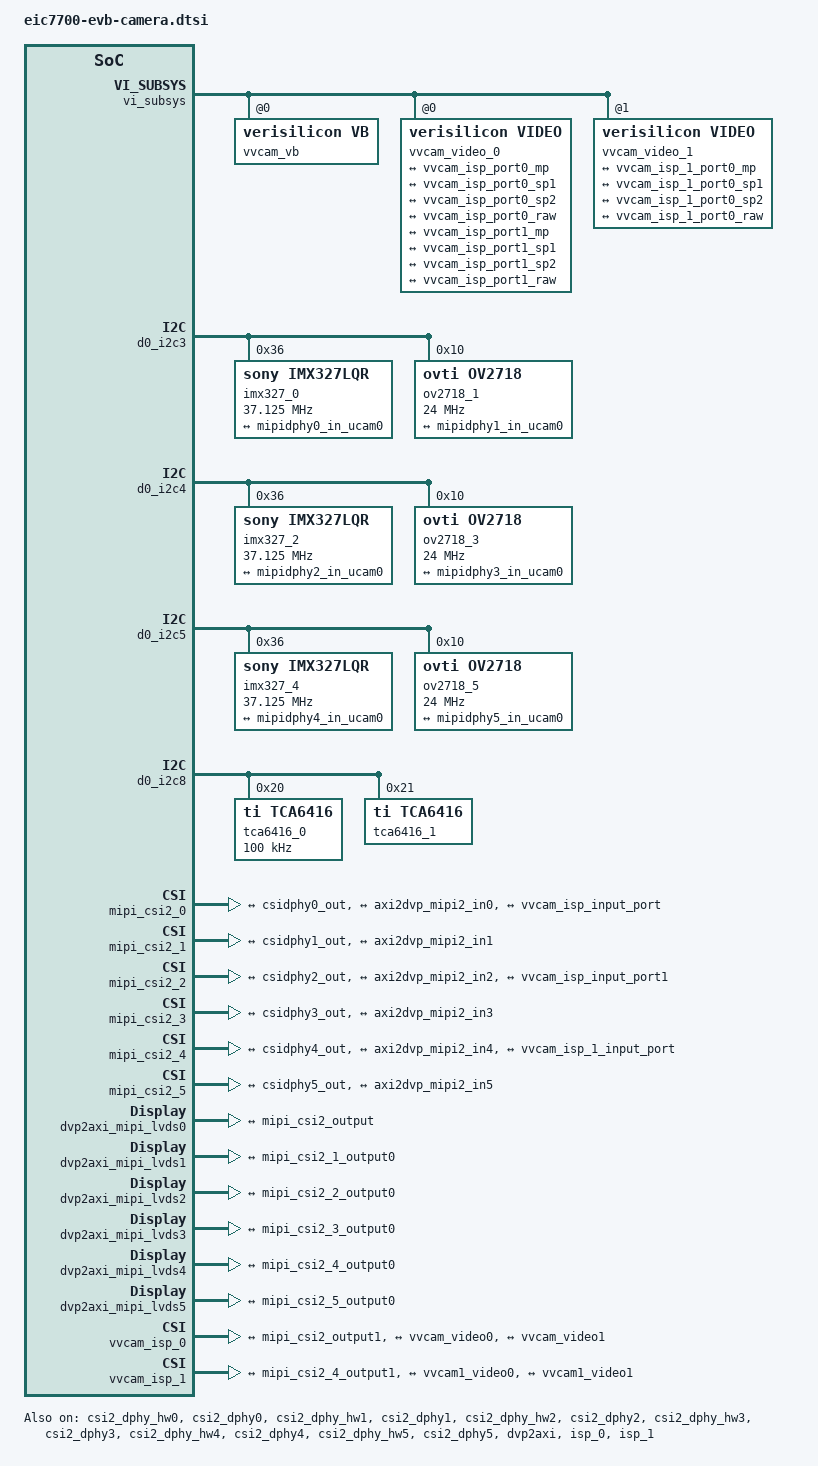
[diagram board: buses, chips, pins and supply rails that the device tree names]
/* SPDX-License-Identifier: GPL-2.0 */
/*
 * Copyright 2026, Beijing ESWIN Computing Technology Co., Ltd.. All rights reserved.
 *
 */

// #include "eswin-win2030-die0-soc.dtsi"
#include <dt-bindings/gpio/gpio.h>
#include <dt-bindings/input/input.h>
&vi_subsys {
	eswin,isp_dvp0_hor = <1920>;
	eswin,isp_dvp0_ver = <1080>;
	/* imx327 4lane HDR mode */
	phy_mode = <5>; //5: 6x2lanes, 2: 3x4lanes
	isp_connect_mode = <0>;
	// imx327,wdr-en-2;

	vvcam_vb: vvcam_vb@0 {
		compatible = "verisilicon,vb";
		status = "okay";
		#size-cells = <2>;
		dma-noncoherent;
		dma-ranges = <0x0 0x20000000 0x0 0x80000000 0x0 0x40000000>;
		iommus = <&smmu0 WIN2030_SID_ISP0>;
	};

	vvcam_video_0: vvcam_video@0 {
		compatible = "verisilicon,video";
		id = <0>;
		status = "okay";
		#size-cells = <2>;
		dma-noncoherent;
		dma-ranges = <0x0 0x20000000 0x0 0x80000000 0x0 0x40000000>;
		iommus = <&smmu0 WIN2030_SID_ISP0>;
		ports {
			#address-cells = <1>;
			#size-cells = <0>;

			port@0 {
				#address-cells = <1>;
				#size-cells = <0>;
				reg = <0>;
				vvcam_video0: endpoint@0 {
					reg = <0>;
					remote-endpoint = <&vvcam_isp_port0_mp>;
				};
			};

			port@1 {
				#address-cells = <1>;
				#size-cells = <0>;
				reg = <1>;
				vvcam_video1: endpoint@0 {
					reg = <0>;
					remote-endpoint = <&vvcam_isp_port0_sp1>;
				};
			};

			port@2 {
				#address-cells = <1>;
				#size-cells = <0>;
				reg = <2>;
				vvcam_video2: endpoint@0 {
					reg = <0>;
					remote-endpoint = <&vvcam_isp_port0_sp2>;
				};
			};

			port@3 {
				#address-cells = <1>;
				#size-cells = <0>;
				reg = <3>;
				vvcam_video3: endpoint@0 {
					reg = <0>;
					remote-endpoint = <&vvcam_isp_port0_raw>;
				};
			};

			port@4 {
				#address-cells = <1>;
				#size-cells = <0>;
				reg = <4>;
				vvcam_video4: endpoint@0 {
					reg = <0>;
					remote-endpoint = <&vvcam_isp_port1_mp>;
				};
			};

			port@5 {
				#address-cells = <1>;
				#size-cells = <0>;
				reg = <5>;
				vvcam_video5: endpoint@0 {
					reg = <0>;
					remote-endpoint = <&vvcam_isp_port1_sp1>;
				};
			};

			port@6 {
				#address-cells = <1>;
				#size-cells = <0>;
				reg = <6>;
				vvcam_video6: endpoint@0 {
					reg = <0>;
					remote-endpoint = <&vvcam_isp_port1_sp2>;
				};
			};

			port@7 {
				#address-cells = <1>;
				#size-cells = <0>;
				reg = <7>;
				vvcam_video7: endpoint@0 {
					reg = <0>;
					remote-endpoint = <&vvcam_isp_port1_raw>;
				};
			};
		};
	};

	vvcam_video_1: vvcam_video@1 {
		compatible = "verisilicon,video";
		id = <1>;
		status = "okay";
		#size-cells = <2>;
		dma-noncoherent;
		dma-ranges = <0x0 0x20000000 0x0 0x80000000 0x0 0x40000000>;
		iommus = <&smmu0 WIN2030_SID_ISP1>;
		ports {
			#address-cells = <1>;
			#size-cells = <0>;

			port@0 {
				#address-cells = <1>;
				#size-cells = <0>;
				reg = <0>;
				vvcam1_video0: endpoint@0 {
					reg = <0>;
					remote-endpoint = <&vvcam_isp_1_port0_mp>;
				};
			};

			port@1 {
				#address-cells = <1>;
				#size-cells = <0>;
				reg = <1>;
				vvcam1_video1: endpoint@0 {
					reg = <0>;
					remote-endpoint = <&vvcam_isp_1_port0_sp1>;
				};
			};

			port@2 {
				#address-cells = <1>;
				#size-cells = <0>;
				reg = <2>;
				vvcam1_video2: endpoint@0 {
					reg = <0>;
					remote-endpoint = <&vvcam_isp_1_port0_sp2>;
				};
			};

			port@3 {
				#address-cells = <1>;
				#size-cells = <0>;
				reg = <3>;
				vvcam1_video3: endpoint@0 {
					reg = <0>;
					remote-endpoint = <&vvcam_isp_1_port0_raw>;
				};
			};
		};
	};
};

&d0_i2c3 {
	/* mipi csi0/csi1 */
	status = "okay";
	imx327_0: imx327@36 {
		compatible = "sony,imx327lqr";
		status = "okay";
		address-cells = <1>;
		size-cells = <0>;
		reg = <0x36>;
		clocks = <&d0_clock EIC7700_CLK_VI_SHUTTER_0>;
		assigned-clocks = <&d0_clock EIC7700_CLK_VI_SHUTTER_0>;
		assigned-clock-rates = <37125000>;
		clock-frequency = <37125000>;
		clock-names = "xclk";
		power-domains = <&d0_pmu EIC770X_PD_VI>;

		port {
			imx327_out0: endpoint {
				remote-endpoint = <&mipidphy0_in_ucam0>;
				data-lanes = <1 2>;
				link-frequencies = /bits/ 64 <445500000 297000000>;
			};
		};
	};

	ov2718_1: ov2718@10 {
		compatible = "ovti,ov2718";
		status = "okay";
		address-cells = <1>;
		size-cells = <0>;
		reg = <0x10>;
		clocks = <&d0_clock EIC7700_CLK_VI_SHUTTER_1>;
		assigned-clocks = <&d0_clock EIC7700_CLK_VI_SHUTTER_1>;
		assigned-clock-rates = <24000000>;
		clock-frequency = <24000000>;
		clock-names = "xvclk";
		power-domains = <&d0_pmu EIC770X_PD_VI>;

		port {
			ov2718_out1: endpoint {
				remote-endpoint = <&mipidphy1_in_ucam0>;
				data-lanes = <1 2>;
				link-frequencies = /bits/ 64 <480000000>;
			};
		};
	};
};

&d0_i2c4 {
	/* mipi csi2/csi3 */
	status = "okay";
	imx327_2: imx327@36 {
		compatible = "sony,imx327lqr";
		status = "okay";
		address-cells = <1>;
		size-cells = <0>;
		reg = <0x36>;
		clocks = <&d0_clock EIC7700_CLK_VI_SHUTTER_2>;
		assigned-clocks = <&d0_clock EIC7700_CLK_VI_SHUTTER_2>;
		assigned-clock-rates = <37125000>;
		clock-frequency = <37125000>;
		clock-names = "xclk";
		power-domains = <&d0_pmu EIC770X_PD_VI>;

		port {
			imx327_out2: endpoint {
				remote-endpoint = <&mipidphy2_in_ucam0>;
				data-lanes = <1 2>;
				link-frequencies = /bits/ 64 <445500000 297000000>;
			};
		};
	};

	ov2718_3: ov2718@10 {
		compatible = "ovti,ov2718";
		status = "okay";
		address-cells = <1>;
		size-cells = <0>;
		reg = <0x10>;
		clocks = <&d0_clock EIC7700_CLK_VI_SHUTTER_3>;
		assigned-clocks = <&d0_clock EIC7700_CLK_VI_SHUTTER_3>;
		assigned-clock-rates = <24000000>;
		clock-frequency = <24000000>;
		clock-names = "xvclk";
		power-domains = <&d0_pmu EIC770X_PD_VI>;

		port {
			ov2718_out3: endpoint {
				remote-endpoint = <&mipidphy3_in_ucam0>;
				data-lanes = <1 2>;
				link-frequencies = /bits/ 64 <480000000>;
			};
		};
	};
};

&d0_i2c5 {
	/* mipi csi4/csi5 */
	status = "okay";
	imx327_4: imx327@36 {
		compatible = "sony,imx327lqr";
		status = "okay";
		address-cells = <1>;
		size-cells = <0>;
		reg = <0x36>;
		clocks = <&d0_clock EIC7700_CLK_VI_SHUTTER_4>;
		assigned-clocks = <&d0_clock EIC7700_CLK_VI_SHUTTER_4>;
		assigned-clock-rates = <37125000>;
		clock-frequency = <37125000>;
		clock-names = "xclk";
		power-domains = <&d0_pmu EIC770X_PD_VI>;

		port {
			imx327_out4: endpoint {
				remote-endpoint = <&mipidphy4_in_ucam0>;
				data-lanes = <1 2>;
				link-frequencies = /bits/ 64 <445500000 297000000>;
			};
		};
	};

	ov2718_5: ov2718@10 {
		compatible = "ovti,ov2718";
		status = "okay";
		address-cells = <1>;
		size-cells = <0>;
		reg = <0x10>;
		clocks = <&d0_clock EIC7700_CLK_VI_SHUTTER_5>;
		assigned-clocks = <&d0_clock EIC7700_CLK_VI_SHUTTER_5>;
		assigned-clock-rates = <24000000>;
		clock-frequency = <24000000>;
		clock-names = "xvclk";
		power-domains = <&d0_pmu EIC770X_PD_VI>;

		port {
			ov2718_out5: endpoint {
				remote-endpoint = <&mipidphy5_in_ucam0>;
				data-lanes = <1 2>;
				link-frequencies = /bits/ 64 <480000000>;
			};
		};
	};
};

&d0_i2c8 {
	/* io extended for mipi csi */
	status = "okay";
	tca6416_0: gpio@20 {
		compatible = "ti,tca6416";
		clock-frequency = <100000>;
		reg = <0x20>;
		gpio-controller; /* IRQ not connected */
		#gpio-cells = <2>;
		gpio-line-names = "MIPI_CSI0_PWDN", "MIPI_CSI0_RESET", "MIPI_CSI1_FBC", "MIPI_CSI1_ENB",
				"MIPI_CSI1_RESET", "MIPI_CSI1_PWDN", "FREX_GP0", "",
				"MIPI_CSI0_ENB", "MIPI_CSI0_FBC", "FREX_GP2", "MIPI_CSI2_FBC",
				"MIPI_CSI2_ENB", "FREX_GP1", "MIPI_CSI2_RESET", "MIPI_CSI2_PWDN";
		//vcc = <&gpio_vcc0>;
		status = "okay";
	};
	tca6416_1: gpio@21 {
		compatible = "ti,tca6416";
		reg = <0x21>;
		gpio-controller;
		#gpio-cells = <2>;
		/* IRQ not connected */
		gpio-line-names = "MIPI_CSI3_PWDN", "MIPI_CSI3_RESET", "MIPI_CSI3_ENB", "MIPI_CSI3_FBC",
				"MIPI_CSI4_PWDN", "MIPI_CSI4_RESET", "MIPI_CSI4_ENB", "MIPI_CSI4_FBC",
				"MIPI_CSI5_FBC", "MIPI_CSI5_ENB", "MIPI_CSI5_RESET", "MIPI_CSI5_PWDN",
				"", "", "", "";
		//vcc = <&gpio_vcc1>;
		status = "okay";
	};
};

&csi2_dphy_hw0 {
	lanes = <1 2>;
	lanes-dp-dn = <3 3>;	// 4lanes: positive on dn/ negative on dp to hs and lp mode
	status = "okay";
};

&csi2_dphy0 {
	status = "okay";
	ports {
		#address-cells = <1>;
		#size-cells = <0>;

		port@0 {
			reg = <0>;
			#address-cells = <1>;
			#size-cells = <0>;

			mipidphy0_in_ucam0: endpoint {
				remote-endpoint = <&imx327_out0>;
			};
		};
		port@1 {
			reg = <1>;
			#address-cells = <1>;
			#size-cells = <0>;

			csidphy0_out: endpoint {
				remote-endpoint = <&mipi_csi2_input>;
			};
		};
	};
};

&csi2_dphy_hw1 {
	lanes = <1 2>;
	lanes-dp-dn = <3 3>;	// 4lanes: positive on dn/ negative on dp to hs and lp mode
	status = "okay";
};
&csi2_dphy1 {
	status = "okay";
	ports {
		#address-cells = <1>;
		#size-cells = <0>;

		port@0 {
			reg = <0>;
			#address-cells = <1>;
			#size-cells = <0>;

			mipidphy1_in_ucam0: endpoint@0 {
				reg = <0>;
				remote-endpoint = <&ov2718_out1>;
			};
		};

		port@1 {
			reg = <1>;
			#address-cells = <1>;
			#size-cells = <0>;

			csidphy1_out: endpoint@1 {
				reg = <1>;
				remote-endpoint = <&mipi_csi2_1_input>;
			};
		};
	};
};

&csi2_dphy_hw2 {
	lanes = <1 2>;
	lanes-dp-dn = <3 3>;	// 4lanes: positive on dn/ negative on dp to hs and lp mode
	status = "okay";
};
&csi2_dphy2 {
	status = "okay";
	ports {
		#address-cells = <1>;
		#size-cells = <0>;

		port@0 {
			reg = <0>;
			#address-cells = <1>;
			#size-cells = <0>;

			mipidphy2_in_ucam0: endpoint@0 {
				reg = <0>;
				remote-endpoint = <&imx327_out2>;
			};
		};

		port@1 {
			reg = <1>;
			#address-cells = <1>;
			#size-cells = <0>;

			csidphy2_out: endpoint@1 {
				reg = <1>;
				remote-endpoint = <&mipi_csi2_2_input>;
			};
		};
	};
};

&csi2_dphy_hw3 {
	lanes = <1 2>;
	lanes-dp-dn = <3 3>;	// 4lanes: positive on dn/ negative on dp to hs and lp mode
	status = "okay";
};

&csi2_dphy3{
	status = "okay";
	ports {
		#address-cells = <1>;
		#size-cells = <0>;

		port@0 {
			reg = <0>;
			#address-cells = <1>;
			#size-cells = <0>;

			mipidphy3_in_ucam0: endpoint@0 {
				reg = <0>;
				remote-endpoint = <&ov2718_out3>;
			};
		};

		port@1 {
			reg = <1>;
			#address-cells = <1>;
			#size-cells = <0>;

			csidphy3_out: endpoint@1 {
				reg = <1>;
				remote-endpoint = <&mipi_csi2_3_input>;
			};
		};
	};
};

&csi2_dphy_hw4 {
	lanes = <1 2>;
	lanes-dp-dn = <3 3>;	// 4lanes: positive on dn/ negative on dp to hs and lp mode
	status = "okay";
};
&csi2_dphy4 {
	status = "okay";
	ports {
		#address-cells = <1>;
		#size-cells = <0>;

		port@0 {
			reg = <0>;
			#address-cells = <1>;
			#size-cells = <0>;

			mipidphy4_in_ucam0: endpoint@0 {
				reg = <0>;
				remote-endpoint = <&imx327_out4>;
			};
		};

		port@1 {
			reg = <1>;
			#address-cells = <1>;
			#size-cells = <0>;

			csidphy4_out: endpoint@1 {
				reg = <1>;
				remote-endpoint = <&mipi_csi2_4_input>;
			};
		};
	};
};

&csi2_dphy_hw5 {
	lanes = <1 2>;
	lanes-dp-dn = <3 3>;	// 4lanes: positive on dn/ negative on dp to hs and lp mode
	status = "okay";
};
&csi2_dphy5{
	status = "okay";
	ports {
		#address-cells = <1>;
		#size-cells = <0>;

		port@0 {
			reg = <0>;
			#address-cells = <1>;
			#size-cells = <0>;

			mipidphy5_in_ucam0: endpoint@0 {
				reg = <0>;
				remote-endpoint = <&ov2718_out5>;
			};
		};

		port@1 {
			reg = <1>;
			#address-cells = <1>;
			#size-cells = <0>;

			csidphy5_out: endpoint@1 {
				reg = <1>;
				remote-endpoint = <&mipi_csi2_5_input>;
			};
		};
	};
};

&mipi_csi2_0 {
	status = "okay";
	num_lanes = <2>;
	snps,en-ppi-width = <1>; // 1: 16-bit, 0: 8-bit
	/* enable HDR X2 */
	ipi2_en            = <1>;
    ipi2_vcid          = <1>;      /* data mapped to VC1 */
    ipi3_en            = <0>;
    ipi3_vcid          = <2>;      /* data mapped to VC2 */
	ports {
		#address-cells = <1>;
		#size-cells = <0>;

		port@0 {
			#address-cells = <1>;
			#size-cells = <0>;
			reg = <0>;
			mipi_csi2_input: endpoint {
				remote-endpoint = <&csidphy0_out>;
			};
		};

		port@1 {
			#address-cells = <1>;
			#size-cells = <0>;
			reg = <1>;
			mipi_csi2_output: endpoint {
				remote-endpoint = <&axi2dvp_mipi2_in0>;
			};
		};

		port@2 {
			#address-cells = <1>;
			#size-cells = <0>;
			reg = <2>;
			mipi_csi2_output1: endpoint {
				remote-endpoint = <&vvcam_isp_input_port>;
			};
		};
	};
};

&mipi_csi2_1{
	num_lanes = <2>;
	snps,en-ppi-width = <1>;
	status = "okay";
	ipi2_en = <1>;
	ipi2_vcid = <1>;
	ipi3_en = <0>;
	ipi3_vcid = <2>;
	ports {
		#address-cells = <1>;
		#size-cells = <0>;

		port@0 {
			reg = <0>;
			#address-cells = <1>;
			#size-cells = <0>;

			mipi_csi2_1_input: endpoint@0 {
				remote-endpoint = <&csidphy1_out>;
			};
		};

		port@1 {
			reg = <1>;
			#address-cells = <1>;
			#size-cells = <0>;

			mipi_csi2_1_output0: endpoint@1 {
				remote-endpoint = <&axi2dvp_mipi2_in1>;
			};
		};
	};
};

&mipi_csi2_2 {
	num_lanes = <2>;
	snps,en-ppi-width = <1>; // 1: 16-bit, 0: 8-bit
	status = "okay";
	/* enable HDR X2 */
	ipi2_en            = <1>;
    ipi2_vcid          = <1>;      /* data mapped to VC1 */
    ipi3_en            = <0>;
    ipi3_vcid          = <2>;      /* data mapped to VC2 */
	ports {
		#address-cells = <1>;
		#size-cells = <0>;

		port@0 {
			reg = <0>;
			#address-cells = <1>;
			#size-cells = <0>;

			mipi_csi2_2_input: endpoint@0 {
				remote-endpoint = <&csidphy2_out>;
			};
		};

		port@1 {
			reg = <1>;
			#address-cells = <1>;
			#size-cells = <0>;

			mipi_csi2_2_output0: endpoint@1 {
				remote-endpoint = <&axi2dvp_mipi2_in2>;
			};
		};

		port@2 {
			#address-cells = <1>;
			#size-cells = <0>;
			reg = <2>;
			mipi_csi2_2_output1: endpoint {
				remote-endpoint = <&vvcam_isp_input_port1>;
			};
		};
	};
};

&mipi_csi2_3 {
	num_lanes = <2>;
	snps,en-ppi-width = <1>;
	status = "okay";
	ipi2_en = <1>;
	ipi2_vcid = <1>;
	ipi3_en = <0>;
	ipi3_vcid = <2>;
	ports {
		#address-cells = <1>;
		#size-cells = <0>;

		port@0 {
			reg = <0>;
			#address-cells = <1>;
			#size-cells = <0>;

			mipi_csi2_3_input: endpoint@0 {
				remote-endpoint = <&csidphy3_out>;
			};
		};

		port@1 {
			reg = <1>;
			#address-cells = <1>;
			#size-cells = <0>;

			mipi_csi2_3_output0: endpoint@1 {
				remote-endpoint = <&axi2dvp_mipi2_in3>;
			};
		};
	};
};

&mipi_csi2_4 {
	num_lanes = <2>;
	snps,en-ppi-width = <1>; // 1: 16-bit, 0: 8-bit
	status = "okay";
	/* enable HDR X2 */
	ipi2_en            = <1>;
	ipi2_vcid          = <1>;      /* data mapped to VC1 */
	ipi3_en            = <0>;
	ipi3_vcid          = <2>;      /* data mapped to VC2 */
	ports {
		#address-cells = <1>;
		#size-cells = <0>;

		port@0 {
			reg = <0>;
			#address-cells = <1>;
			#size-cells = <0>;

			mipi_csi2_4_input: endpoint@0 {
				remote-endpoint = <&csidphy4_out>;
			};
		};

		port@1 {
			reg = <1>;
			#address-cells = <1>;
			#size-cells = <0>;

			mipi_csi2_4_output0: endpoint@1 {
				remote-endpoint = <&axi2dvp_mipi2_in4>;
			};
		};

		port@2 {
			#address-cells = <1>;
			#size-cells = <0>;
			reg = <2>;
			mipi_csi2_4_output1: endpoint {
				remote-endpoint = <&vvcam_isp_1_input_port>;
			};
		};
	};
};


&mipi_csi2_5 {
	num_lanes = <2>;
	snps,en-ppi-width = <1>; // 1: 16-bit, 0: 8-bit
	status = "okay";
	/* enable HDR X2 */
	ipi2_en            = <1>;
	ipi2_vcid          = <1>;      /* data mapped to VC1 */
	ipi3_en            = <0>;
	ipi3_vcid          = <2>;      /* data mapped to VC2 */
	ports {
		#address-cells = <1>;
		#size-cells = <0>;

		port@0 {
			reg = <0>;
			#address-cells = <1>;
			#size-cells = <0>;

			mipi_csi2_5_input: endpoint@0 {
				remote-endpoint = <&csidphy5_out>;
			};
		};

		port@1 {
			reg = <1>;
			#address-cells = <1>;
			#size-cells = <0>;

			mipi_csi2_5_output0: endpoint@1 {
				remote-endpoint = <&axi2dvp_mipi2_in5>;
			};
		};
	};
};

&dvp2axi {
	status = "okay";
};

&dvp2axi_mipi_lvds0 {
	status = "okay";
	dvp2axi_id = <0>;
	ports{
		port@0 {
			axi2dvp_mipi2_in0: endpoint {
				remote-endpoint = <&mipi_csi2_output>;
			};
		};
	};
};

&dvp2axi_mipi_lvds1 {
	dvp2axi_id = <1>;
	status = "okay";
	port@0 {
		axi2dvp_mipi2_in1: endpoint {
			remote-endpoint = <&mipi_csi2_1_output0>;
		};
	};

};

&dvp2axi_mipi_lvds2 {
	status = "okay";
	dvp2axi_id = <2>;
	port@0 {
		axi2dvp_mipi2_in2: endpoint@0 {
			remote-endpoint = <&mipi_csi2_2_output0>;
		};
	};
};

&dvp2axi_mipi_lvds3 {
	dvp2axi_id = <3>;
	status = "okay";
	port@0 {
		axi2dvp_mipi2_in3: endpoint@0 {
			remote-endpoint = <&mipi_csi2_3_output0>;
		};
	};
};

&dvp2axi_mipi_lvds4 {
	dvp2axi_id = <4>;
	status = "okay";
	port@0 {
		axi2dvp_mipi2_in4: endpoint@0 {
			remote-endpoint = <&mipi_csi2_4_output0>;
		};
	};
};

&dvp2axi_mipi_lvds5 {
	dvp2axi_id = <5>;
	status = "okay";
	port@0 {
		axi2dvp_mipi2_in5: endpoint@0 {
			remote-endpoint = <&mipi_csi2_5_output0>;
		};
	};
};

&vvcam_isp_0 {
	ports {
		#address-cells = <1>;
		#size-cells = <0>;

		port@0 {
			#address-cells = <1>;
			#size-cells = <0>;
			reg = <0>;
			vvcam_isp_input_port: endpoint@0 {
				reg = <0>;
				remote-endpoint = <&mipi_csi2_output1>;
			};
		};

		port@1 {
			#address-cells = <1>;
			#size-cells = <0>;
			reg = <1>;
			vvcam_isp_port0_mp: endpoint {
				remote-endpoint = <&vvcam_video0>;
			};
		};

		port@2 {
			#address-cells = <1>;
			#size-cells = <0>;
			reg = <2>;
			vvcam_isp_port0_sp1: endpoint {
				remote-endpoint = <&vvcam_video1>;
			};
		};

		port@3 {
			#address-cells = <1>;
			#size-cells = <0>;
			reg = <3>;
			vvcam_isp_port0_sp2: endpoint {
				remote-endpoint = <&vvcam_video2>;
			};
		};

		port@4 {
			#address-cells = <1>;
			#size-cells = <0>;
			reg = <4>;
			vvcam_isp_port0_raw: endpoint {
				remote-endpoint = <&vvcam_video3>;
			};
		};

		port@5 {
			#address-cells = <1>;
			#size-cells = <0>;
			reg = <5>;
			vvcam_isp_input_port1: endpoint@0 {
				reg = <0>;
				remote-endpoint = <&mipi_csi2_2_output1>;
			};
		};

		port@6 {
			#address-cells = <1>;
			#size-cells = <0>;
			reg = <6>;
			vvcam_isp_port1_mp: endpoint {
				remote-endpoint = <&vvcam_video4>;
			};
		};

		port@7 {
			#address-cells = <1>;
			#size-cells = <0>;
			reg = <7>;
			vvcam_isp_port1_sp1: endpoint {
				remote-endpoint = <&vvcam_video5>;
			};
		};

		port@8 {
			#address-cells = <1>;
			#size-cells = <0>;
			reg = <8>;
			vvcam_isp_port1_sp2: endpoint {
				remote-endpoint = <&vvcam_video6>;
			};
		};

		port@9 {
			#address-cells = <1>;
			#size-cells = <0>;
			reg = <9>;
			vvcam_isp_port1_raw: endpoint {
				remote-endpoint = <&vvcam_video7>;
			};
		};
	};
};

&vvcam_isp_1 {
	ports {
		#address-cells = <1>;
		#size-cells = <0>;

		port@0 {
			#address-cells = <1>;
			#size-cells = <0>;
			reg = <0>;
			vvcam_isp_1_input_port: endpoint@0 {
				reg = <0>;
				remote-endpoint = <&mipi_csi2_4_output1>;
			};
		};

		port@1 {
			#address-cells = <1>;
			#size-cells = <0>;
			reg = <1>;
			vvcam_isp_1_port0_mp: endpoint {
				remote-endpoint = <&vvcam1_video0>;
			};
		};

		port@2 {
			#address-cells = <1>;
			#size-cells = <0>;
			reg = <2>;
			vvcam_isp_1_port0_sp1: endpoint {
				remote-endpoint = <&vvcam1_video1>;
			};
		};

		port@3 {
			#address-cells = <1>;
			#size-cells = <0>;
			reg = <3>;
			vvcam_isp_1_port0_sp2: endpoint {
				remote-endpoint = <&vvcam1_video2>;
			};
		};

		port@4 {
			#address-cells = <1>;
			#size-cells = <0>;
			reg = <4>;
			vvcam_isp_1_port0_raw: endpoint {
				remote-endpoint = <&vvcam1_video3>;
			};
		};
	};
};

&isp_0 {
	status = "okay";
};

&isp_1 {
	status = "okay";
};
